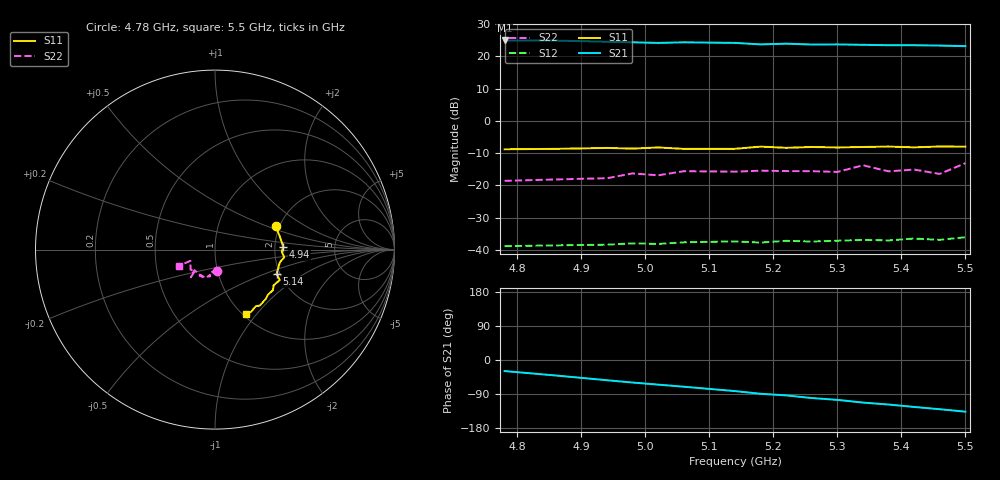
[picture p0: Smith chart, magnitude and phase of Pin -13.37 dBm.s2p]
! RsaToolbox (C) 2015 Rohde & Schwarz America
! Number of points: 16
! Number of ports: 2
! Balanced ports?: No
# Hz S RI R 50
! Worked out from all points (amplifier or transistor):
!   16 points, 4.78 GHz to 5.5 GHz, reference 50 ohm
!   highest |S21| = 24.9 dB at 4.78 GHz (marker M1)
!   |S21| within 3 dB of that: start of sweep to end of sweep
!   unconditionally stable (mu >= 1): start of sweep to end of sweep
!   at 4.94 GHz: K = 2.12, MAG = 25.4 dB, |S12| = -38.3 dB
!   at 5.22 GHz: K = 1.96, MAG = 24.9 dB, |S12| = -37.2 dB
!   at 5.5 GHz: K = 1.81, MAG = 24.4 dB, |S12| = -36.0 dB
!   S11 on the Smith chart (normalised r, x): 4.78 GHz: 1.91, +0.58; 4.94 GHz: 2.23, +0.08; 5.14 GHz: 1.92, -0.60; 5.5 GHz: 1.04, -0.88
4.78e9  0.3386 0.1313  15.36 -8.589  0.00822 -0.00798  0.00967 -0.1173
4.86e9  0.3617 0.0703  13.23 -11.47  0.00713 -0.00938  -0.0159 -0.1227
4.94e9  0.3806 0.015  10.02 -13.49  0.00587 -0.0106  -0.0091 -0.1292
4.98e9  0.3718 -0.00876  8.373 -14.2  0.00533 -0.0115  -0.0304 -0.1504
5.02e9  0.3852 -0.0431  6.809 -14.61  0.00446 -0.0116  -0.0273 -0.1407
5.06e9  0.3614 -0.0709  5.483 -15.53  0.00332 -0.0127  -0.0508 -0.1583
5.14e9  0.3432 -0.1358  2.229 -15.98  0.00101 -0.0135  -0.0846 -0.1397
5.18e9  0.3614 -0.1694  0.2367 -15.29  0.000503 -0.013  -0.0649 -0.1563
5.22e9  0.3265 -0.199  -0.935 -15.67  -0.0011 -0.0138  -0.0849 -0.1436
5.26e9  0.3229 -0.2256  -2.733 -14.97  -0.00163 -0.0134  -0.079 -0.1463
5.3e9  0.2927 -0.2538  -4.016 -14.74  -0.00324 -0.0135  -0.1142 -0.1146
5.34e9  0.2842 -0.2728  -5.739 -13.94  -0.00398 -0.0138  -0.1349 -0.1544
5.38e9  0.2501 -0.3119  -6.863 -13.16  -0.00551 -0.0129  -0.113 -0.1207
5.42e9  0.2275 -0.315  -8.279 -12.31  -0.00655 -0.0135  -0.136 -0.1117
5.46e9  0.2012 -0.3469  -9.396 -11.25  -0.00775 -0.0121  -0.1372 -0.0624
5.5e9  0.1733 -0.3584  -10.4 -9.912  -0.00898 -0.013  -0.2012 -0.0909
